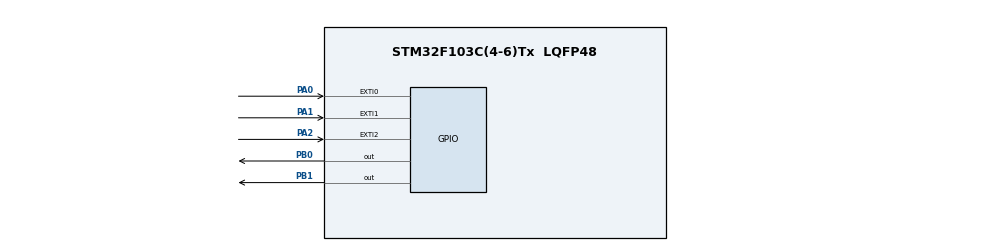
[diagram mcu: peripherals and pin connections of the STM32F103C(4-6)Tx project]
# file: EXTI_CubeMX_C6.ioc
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Mcu.Family=STM32F1
Mcu.Name=STM32F103C(4-6)Tx
Mcu.Package=LQFP48
NVIC.EXTI0_IRQn=true\:0\:0\:true\:false\:true\:true\:true
NVIC.EXTI1_IRQn=true\:0\:0\:false\:false\:true\:true\:true
NVIC.EXTI2_IRQn=true\:0\:0\:false\:false\:true\:true\:true
NVIC.PriorityGroup=NVIC_PRIORITYGROUP_4
PA0-WKUP.GPIO_PuPd=GPIO_PULLUP
PA0-WKUP.Signal=GPXTI0
PA1.GPIO_PuPd=GPIO_PULLUP
PA1.Signal=GPXTI1
PA2.GPIO_PuPd=GPIO_PULLUP
PA2.Signal=GPXTI2
PB0.Signal=GPIO_Output
PB1.Signal=GPIO_Output
ProjectManager.HeapSize=0x200
ProjectManager.StackSize=0x400
ProjectManager.TargetToolchain=MDK-ARM V5
RCC.APB1Freq_Value=8000000
RCC.APB2Freq_Value=8000000
VP_SYS_VS_ND.Mode=No_Debug
board=custom

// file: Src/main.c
/* USER CODE BEGIN Header */
/**
  ******************************************************************************
  * @file           : main.c
  * @brief          : Main program body
  ******************************************************************************
  * @attention
  *
  * <h2><center>&copy; Copyright (c) 2020 STMicroelectronics.
  * All rights reserved.</center></h2>
  *
  * This software component is licensed by ST under BSD 3-Clause license,
  * the "License"; You may not use this file except in compliance with the
  * License. You may obtain a copy of the License at:
  *                        opensource.org/licenses/BSD-3-Clause
  *
  ******************************************************************************
  */
/* USER CODE END Header */

#include "main.h"

/* USER CODE BEGIN PTD */
typedef enum
{
  INPUT = 0U,
  OUTPUT_10MHZ,
	OUTPUT_2MHZ,
	OUTPUT_50MHZ
} GPIO_Mode;
typedef enum
{
	ANALOG = 0U,
	FLOATING,
	PULL,
	RESERVED
} CNF_INPUT_MODE;
typedef struct
{
	uint32_t IMR;
	uint32_t EMR;
	uint32_t RTSR;
	uint32_t FTSR;
	uint32_t SWIER;
	uint32_t PR;
}NVIC_STM_t;

/* USER CODE END PTD */

void SystemClock_Config(void);
static void MX_GPIO_Init(void);
/* USER CODE BEGIN PFP */
void Enable_EXTI1();
void Enable_EXTI2();
/* USER CODE END PFP */

int main(void)
{

  /* MCU Configuration--------------------------------------------------------*/

  /* Reset of all peripherals, Initializes the Flash interface and the Systick. */
  HAL_Init();

  /* Configure the system clock */
  SystemClock_Config();

  /* Initialize all configured peripherals */
  MX_GPIO_Init();

  /* Infinite loop */
  while (1)
  {

  }
}

void SystemClock_Config(void)
{
  RCC_OscInitTypeDef RCC_OscInitStruct = {0};
  RCC_ClkInitTypeDef RCC_ClkInitStruct = {0};

  /** Initializes the CPU, AHB and APB busses clocks
  */
  RCC_OscInitStruct.OscillatorType = RCC_OSCILLATORTYPE_HSI;
  RCC_OscInitStruct.HSIState = RCC_HSI_ON;
  RCC_OscInitStruct.HSICalibrationValue = RCC_HSICALIBRATION_DEFAULT;
  RCC_OscInitStruct.PLL.PLLState = RCC_PLL_NONE;
  if (HAL_RCC_OscConfig(&RCC_OscInitStruct) != HAL_OK)
  {
    Error_Handler();
  }
  /** Initializes the CPU, AHB and APB busses clocks
  */
  RCC_ClkInitStruct.ClockType = RCC_CLOCKTYPE_HCLK|RCC_CLOCKTYPE_SYSCLK
                              |RCC_CLOCKTYPE_PCLK1|RCC_CLOCKTYPE_PCLK2;
  RCC_ClkInitStruct.SYSCLKSource = RCC_SYSCLKSOURCE_HSI;
  RCC_ClkInitStruct.AHBCLKDivider = RCC_SYSCLK_DIV1;
  RCC_ClkInitStruct.APB1CLKDivider = RCC_HCLK_DIV1;
  RCC_ClkInitStruct.APB2CLKDivider = RCC_HCLK_DIV1;

  if (HAL_RCC_ClockConfig(&RCC_ClkInitStruct, FLASH_LATENCY_0) != HAL_OK)
  {
    Error_Handler();
  }
}

static void MX_GPIO_Init(void)
{
  GPIO_InitTypeDef GPIO_InitStruct = {0};

  /* GPIO Ports Clock Enable */
  __HAL_RCC_GPIOA_CLK_ENABLE();
  __HAL_RCC_GPIOB_CLK_ENABLE();

  /*Configure GPIO pin Output Level */
  HAL_GPIO_WritePin(GPIOB, GPIO_PIN_0|GPIO_PIN_1, GPIO_PIN_RESET);

  /*Configure GPIO pins : PA0 PA1 PA2 */
//  GPIO_InitStruct.Pin = GPIO_PIN_2;
//  GPIO_InitStruct.Mode = GPIO_MODE_IT_RISING;
//  GPIO_InitStruct.Pull = GPIO_PULLUP;
//  HAL_GPIO_Init(GPIOA, &GPIO_InitStruct);

  /*Configure GPIO pins : PB0 PB1 */
  GPIO_InitStruct.Pin = GPIO_PIN_0|GPIO_PIN_1;
  GPIO_InitStruct.Mode = GPIO_MODE_OUTPUT_PP;
  GPIO_InitStruct.Pull = GPIO_NOPULL;
  GPIO_InitStruct.Speed = GPIO_SPEED_FREQ_LOW;
  HAL_GPIO_Init(GPIOB, &GPIO_InitStruct);

  /* EXTI interrupt init*/
//  HAL_NVIC_SetPriority(EXTI0_IRQn, 0, 0);
//  HAL_NVIC_EnableIRQ(EXTI0_IRQn);

//  HAL_NVIC_SetPriority(EXTI1_IRQn, 0, 0);
//  HAL_NVIC_EnableIRQ(EXTI1_IRQn);
//	//Enable_EXTI1();

//  HAL_NVIC_SetPriority(EXTI2_IRQn, 0, 0);
//  HAL_NVIC_EnableIRQ(EXTI2_IRQn);
	//Enable_EXTI2();

	Enable_EXTI1();
}

/* USER CODE BEGIN 4 */
void Enable_EXTI1()
{
	__HAL_RCC_GPIOA_CLK_ENABLE();
	uint32_t* PORTA = (void*)0x40010800;
	*PORTA = (8<<(4*0))|(8<<(4*1))|(8<<(4*2));
	NVIC_STM_t* NVIC_EXTI = (void*)0x40010400;
	NVIC_EXTI->IMR |= (1<<1) | (1<<2);
	NVIC_EXTI->FTSR |= (1<<1) | (1<<2);
	__HAL_RCC_AFIO_CLK_ENABLE();

	uint32_t* NVIC_ISER0 = (void*)0xE000E100;
	*NVIC_ISER0 |= (1<<7)|(1<<8);
}

void Enable_EXTI2()
{
	uint32_t* NVIC_ISER0 = (void*)0xE000E100;
	*NVIC_ISER0 |= 1<<8;
}
/* USER CODE END 4 */

void Error_Handler(void)
{
}

/************************ (C) COPYRIGHT STMicroelectronics *****END OF FILE****/
